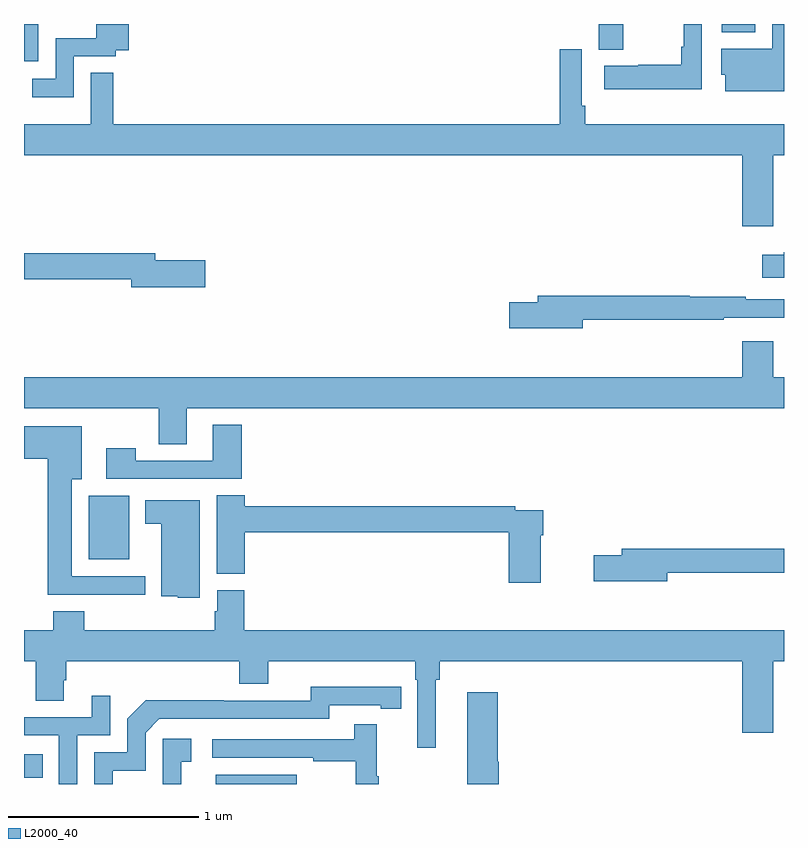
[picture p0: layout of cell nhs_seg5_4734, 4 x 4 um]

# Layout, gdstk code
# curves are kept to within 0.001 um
import gdstk
lib = gdstk.Library(unit=1e-6, precision=1e-09)
def R(c, l, rs):  # rectangles x0, y0, x1, y1
    for r in rs: c.add(gdstk.rectangle(r[:2], r[2:], *l))
def P(c, l, *ps):  # polygons
    for p in ps: c.add(gdstk.Polygon(p, *l))
L2000_40 = (2000, 40)

nhs_seg5_4734 = lib.new_cell('nhs_seg5_4734')
R(nhs_seg5_4734, L2000_40, [(390.008,838.799,390.436,838.849), (389,838.833,389.099,838.956), (389.342,839.981,389.554,840.316), (389,842.604,389.074,842.799), (392.024,842.663,392.154,842.799), (392.672,842.756,392.848,842.799)])
P(nhs_seg5_4734, L2000_40, [(392.568,842.799),(392.472,842.799),(392.472,842.68),(392.46,842.68),(392.46,842.584),(392.232,842.584),(392.232,842.578),(392.055,842.578),(392.055,842.456),(392.568,842.456)],
  [(389.262,842.628),(389.482,842.628),(389.482,842.66),(389.552,842.66),(389.552,842.799),(389.381,842.799),(389.381,842.724),(389.166,842.724),(389.166,842.511),(389.043,842.511),(389.043,842.414),(389.262,842.414)],
  [(393,842.799),(392.937,842.799),(392.937,842.668),(392.669,842.668),(392.669,842.532),(392.69,842.532),(392.69,842.444),(393,842.444)],
  [(392.944,842.108),(393,842.108),(393,842.272),(391.955,842.272),(391.955,842.368),(391.935,842.368),(391.935,842.665),(391.819,842.665),(391.819,842.272),(389.47,842.272),(389.47,842.543),(389.351,842.543),(389.351,842.272),(389,842.272),(389,842.108),(392.78,842.108),(392.78,841.734),(392.944,841.734)],
  [(393,841.598),(392.998,841.598),(392.998,841.585),(392.886,841.585),(392.886,841.463),(393,841.463)],
  [(389.953,841.556),(389.692,841.556),(389.692,841.592),(389,841.592),(389,841.456),(389.564,841.456),(389.564,841.414),(389.953,841.414)],
  [(391.942,841.242),(392.684,841.242),(392.684,841.254),(393,841.254),(393,841.35),(392.798,841.35),(392.798,841.363),(392.503,841.363),(392.503,841.37),(391.703,841.37),(391.703,841.334),(391.554,841.334),(391.554,841.199),(391.942,841.199)],
  [(389.857,840.776),(393,840.776),(393,840.94),(392.944,840.94),(392.944,841.129),(392.78,841.129),(392.78,840.94),(389,840.94),(389,840.776),(389.71,840.776),(389.71,840.586),(389.857,840.586)],
  [(390.146,840.691),(389.993,840.691),(389.993,840.501),(389.589,840.501),(389.589,840.565),(389.433,840.565),(389.433,840.405),(390.146,840.405)],
  [(389.638,839.892),(389.251,839.892),(389.251,840.404),(389.305,840.404),(389.305,840.682),(389,840.682),(389,840.512),(389.126,840.512),(389.126,839.795),(389.638,839.795)],
  [(391.72,840.107),(391.733,840.107),(391.733,840.24),(391.586,840.24),(391.586,840.26),(390.161,840.26),(390.161,840.32),(390.014,840.32),(390.014,839.905),(390.161,839.905),(390.161,840.124),(391.55,840.124),(391.55,839.859),(391.72,839.859)],
  [(389.926,840.292),(389.639,840.292),(389.639,840.17),(389.723,840.17),(389.723,839.786),(389.808,839.786),(389.808,839.78),(389.926,839.78)],
  [(392.386,839.91),(393,839.91),(393,840.038),(392.147,840.038),(392.147,840.002),(391.998,840.002),(391.998,839.867),(392.386,839.867)],
  [(390.158,839.82),(390.017,839.82),(390.017,839.709),(390.005,839.709),(390.005,839.608),(389.318,839.608),(389.318,839.707),(389.153,839.707),(389.153,839.608),(389,839.608),(389,839.444),(389.062,839.444),(389.062,839.236),(389.209,839.236),(389.209,839.346),(389.222,839.346),(389.222,839.444),(390.134,839.444),(390.134,839.327),(390.286,839.327),(390.286,839.444),(391.058,839.444),(391.058,839.348),(391.071,839.348),(391.071,838.989),(391.168,838.989),(391.168,839.348),(391.187,839.348),(391.187,839.444),(392.78,839.444),(392.78,839.07),(392.944,839.07),(392.944,839.444),(393,839.444),(393,839.608),(390.158,839.608)],
  [(389.467,838.869),(389.64,838.869),(389.64,839.07),(389.712,839.142),(390.606,839.142),(390.606,839.214),(390.878,839.214),(390.878,839.194),(390.986,839.194),(390.986,839.31),(390.51,839.311),(390.51,839.238),(390.05,839.238),(390.05,839.24),(389.642,839.24),(389.544,839.142),(389.544,838.965),(389.37,838.965),(389.37,838.799),(389.467,838.799)],
  [(391.498,838.917),(391.493,838.917),(391.493,839.281),(391.334,839.281),(391.334,838.799),(391.498,838.799)],
  [(389.28,839.055),(389.454,839.055),(389.454,839.263),(389.357,839.263),(389.357,839.151),(389,839.151),(389,839.055),(389.184,839.055),(389.184,838.799),(389.28,838.799)],
  [(390.868,838.841),(390.857,838.841),(390.857,839.113),(390.739,839.113),(390.739,839.034),(389.991,839.034),(389.991,838.938),(390.523,838.938),(390.523,838.918),(390.747,838.918),(390.747,838.799),(390.868,838.799)],
  [(389.828,838.917),(389.881,838.917),(389.881,839.038),(389.73,839.038),(389.73,838.799),(389.828,838.799)])

lib.write_gds('nhs_seg5_4734.gds')
